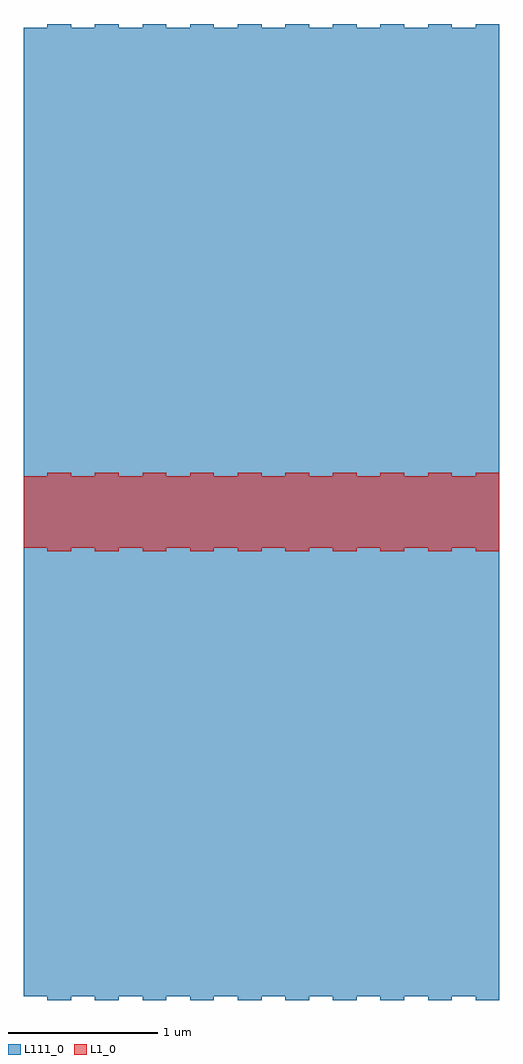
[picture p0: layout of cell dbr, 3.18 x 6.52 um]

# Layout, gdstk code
import gdstk
lib = gdstk.Library(unit=1e-6, precision=1e-09)
def R(c, l, rs):  # rectangles x0, y0, x1, y1
    for r in rs: c.add(gdstk.rectangle(r[:2], r[2:], *l))
def A(c, l, x, y, w, h, nx, ny, dx, dy):  # array of equal rectangles
    R(c, l, [(x+i*dx, y+j*dy, x+i*dx+w, y+j*dy+h) for i in range(nx) for j in range(ny)])
L1_0 = (1, 0)
L111_0 = (111, 0)

dbr = lib.new_cell('dbr')
A(dbr, L1_0, 0.159, -0.262, 0.159, 0.524, 10, 1, 0.318, 0)
A(dbr, L1_0, 0, -0.238, 0.159, 0.476, 10, 1, 0.318, 0)
A(dbr, L111_0, 0.159, -3.262, 0.159, 6.524, 10, 1, 0.318, 0)
A(dbr, L111_0, 0, -3.238, 0.159, 6.476, 10, 1, 0.318, 0)

lib.write_gds('dbr.gds')
